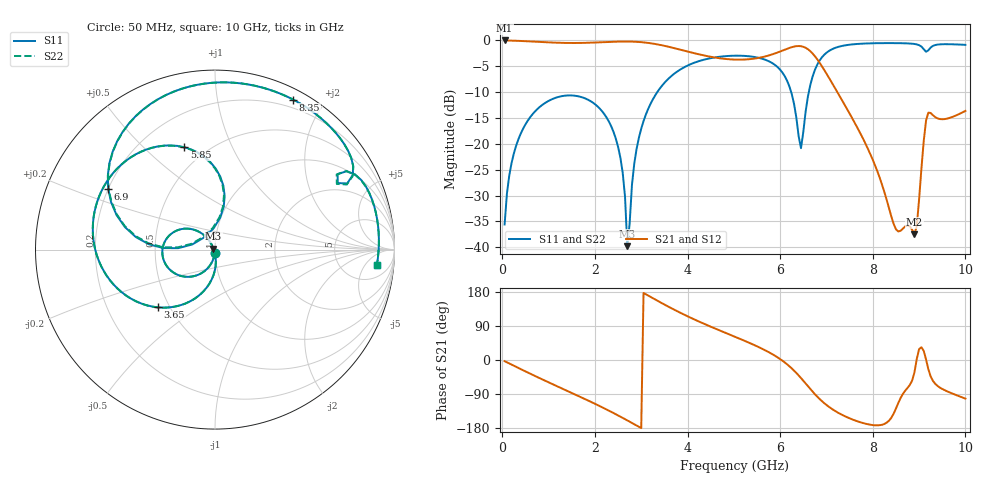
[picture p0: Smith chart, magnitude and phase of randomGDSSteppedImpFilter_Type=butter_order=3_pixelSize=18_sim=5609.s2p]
! freq	dB(S11)	phase(S11)	dB(S12)	phase(S12)
!  dB(S21)	phase(S21)	dB(S22)	phase(S22)
!S-par simulation data
#  GHz  S  DB  R 50
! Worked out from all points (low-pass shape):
!   200 points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, 50 MHz to 10 GHz, reference 50 ohm
!   highest |S21| = -0.01 dB at 50 MHz (marker M1); lowest = -37.4 dB at 8.9 GHz (marker M2)
!   |S21| within 3 dB of the highest: start of sweep to 4.409 GHz; 5.715 GHz to 6.746 GHz (1.031 GHz wide, 16.5 % of centre)
!   lowest |S11| = -39.8 dB at 2.7 GHz (marker M3), VSWR 1.02, Z = 49.1 + j0.421 ohm
!   |S11| at or under -10 dB: start of sweep to 3.346 GHz; 6.238 GHz to 6.619 GHz (380.8 MHz wide, 5.92 % of centre)
!   |S22| runs from -39.9 to -0.5 dB; largest |S21 - S12| = 0
!   S11 on the Smith chart (normalised r, x): 50 MHz: 1.00, -0.03; 3.65 GHz: 0.43, -0.35; 5.85 GHz: 0.38, +0.67; 6.9 GHz: 0.20, +0.26; 8.35 GHz: 0.11, +1.65; 10 GHz: 11, -10
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0.05  -35.58 -92.7  -0.01 -3.1  -0.01 -3.1  -35.58 -92.7
0.2  -23.71 -102.3  -0.04 -12.2  -0.04 -12.2  -23.71 -102.3
0.5  -16.23 -120.5  -0.15 -30.1  -0.15 -30.1  -16.23 -120.5
1.75  -11.08 168.8  -0.48 -101.0  -0.48 -101.0  -11.07 168.8
2.45  -18.94 128.8  -0.24 -143.0  -0.24 -143.0  -18.94 128.8
2.6  -25.58 122.7  -0.21 -152.7  -0.21 -152.7  -25.58 122.6
2.7  -39.77 155.3  -0.21 -159.4  -0.21 -159.4  -39.85 154.5
2.9  -20.97 -87.8  -0.27 -172.9  -0.27 -172.9  -20.98 -87.6
3.4  -9.32 -118.7  -0.85 153.0  -0.85 153.0  -9.32 -118.6
3.65  -6.90 -134.6  -1.35 136.7  -1.35 136.7  -6.90 -134.5
4.35  -3.73 -174.6  -2.90 95.9  -2.90 95.9  -3.74 -174.5
5.05  -2.95 150.3  -3.71 60.0  -3.71 60.0  -2.95 150.5
5.85  -4.50 106.7  -2.64 14.0  -2.64 14.0  -4.50 107.0
6.2  -8.90 82.5  -1.45 -16.5  -1.45 -16.5  -8.88 83.2
6.45  -20.84 132.1  -1.12 -47.6  -1.12 -47.6  -20.38 132.0
6.7  -6.99 171.0  -2.53 -83.5  -2.53 -83.5  -6.97 170.3
6.9  -3.29 150.3  -4.97 -108.5  -4.97 -108.5  -3.28 150.0
7.5  -0.82 104.7  -14.14 -153.9  -14.14 -153.9  -0.82 104.5
8.35  -0.52 62.4  -32.43 -160.2  -32.43 -160.2  -0.52 62.3
8.9  -0.69 36.7  -37.44 -32.8  -37.44 -32.8  -0.69 36.5
9.2  -1.91 31.6  -13.96 -24.3  -13.96 -24.3  -1.97 31.7
10  -0.86 -5.3  -13.63 -101.9  -13.63 -101.9  -0.86 -5.4
